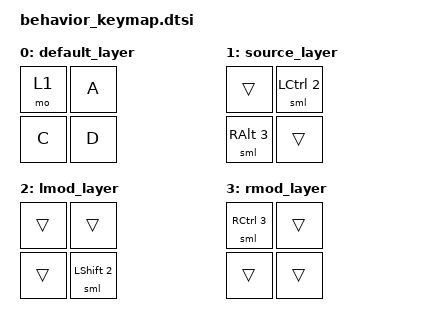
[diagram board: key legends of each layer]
#include <dt-bindings/zmk/keys.h>
#include <behaviors.dtsi>
#include <dt-bindings/zmk/kscan_mock.h>

/ {
    behaviors {
        sml: sticky_mod_layer {
            compatible = "zmk,behavior-sticky-mod-layer";
            #binding-cells = <2>;
            release-after-ms = <250>;
            quick-release;
            ignore-modifiers;
            ignored-key-positions = <0>;
            bindings = <&kp>;
        };
    };

    keymap {
        compatible = "zmk,keymap";

        default_layer {
            bindings = <
                &mo 1         &kp A
                &kp C         &kp D
            >;
        };

        source_layer {
            bindings = <
                &trans        &sml LCTRL 2
                &sml RALT 3   &trans
            >;
        };

        lmod_layer {
            bindings = <
                &trans        &trans
                &trans        &sml LSHFT 2
            >;
        };

        rmod_layer {
            bindings = <
                &sml RCTRL 3  &trans
                &trans        &trans
            >;
        };
    };
};
